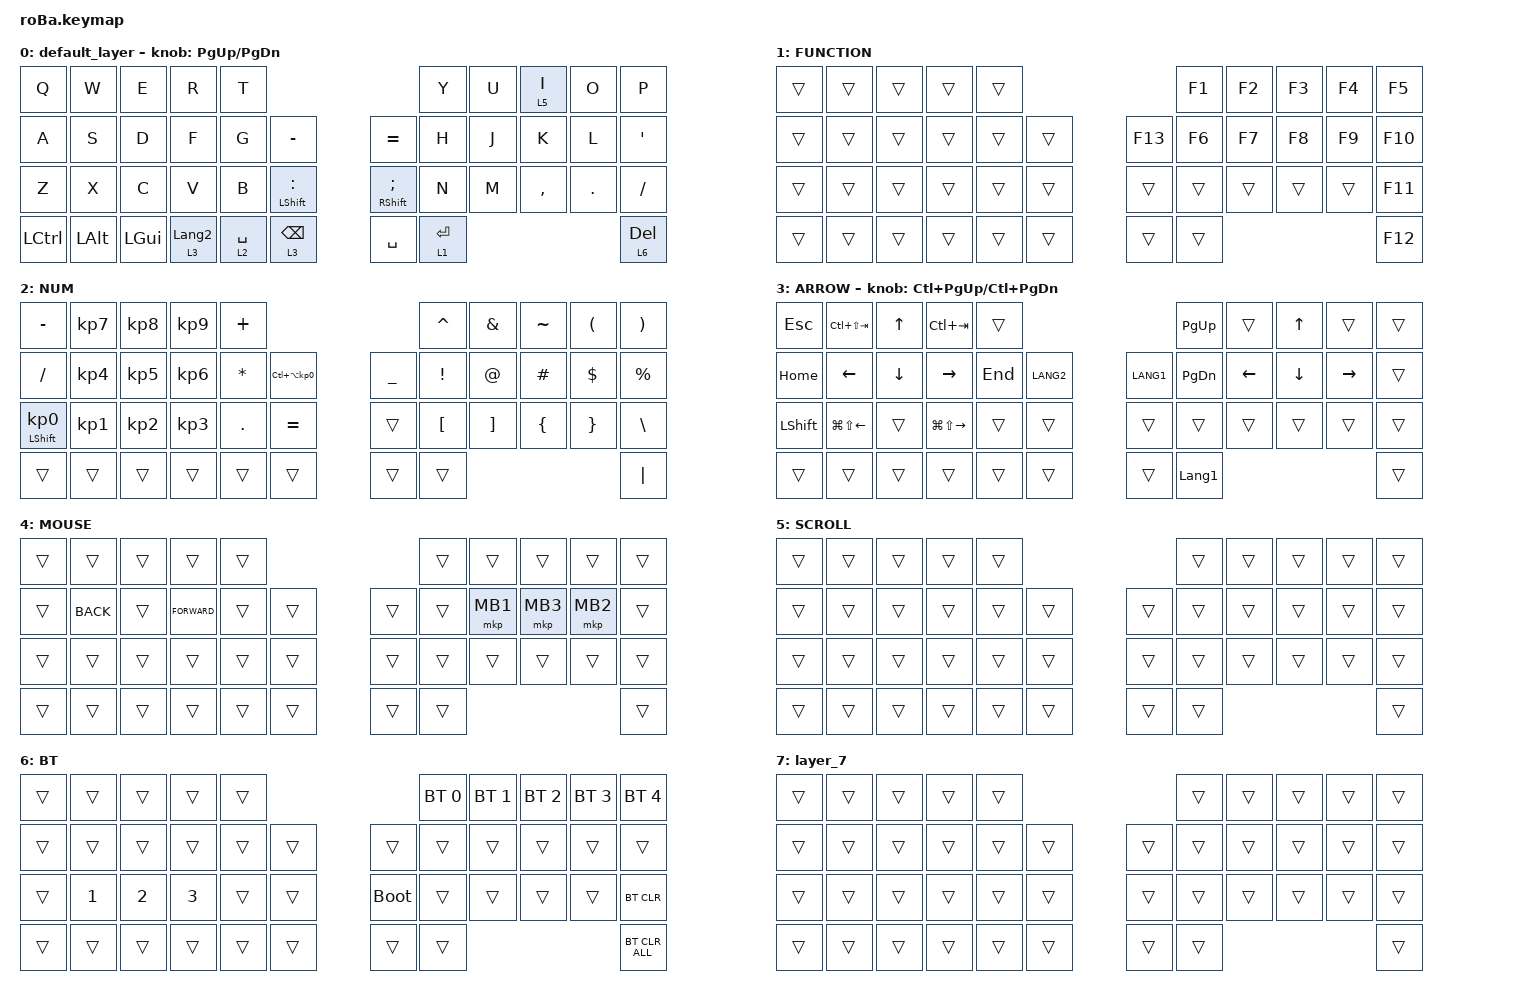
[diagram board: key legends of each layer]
#include <behaviors.dtsi>
#include <dt-bindings/zmk/bt.h>
#include <dt-bindings/zmk/keys.h>
#include <dt-bindings/zmk/pointing.h>

&mt {
    flavor = "balanced";
    quick-tap-ms = <0>;
};

&trackball {
    automouse-layer = <4>;
    scroll-layers = <5>;

    // arrows {
    //     layers = <3>;
    //     bindings =
    //         <&kp RIGHT_ARROW>,
    //         <&kp LEFT_ARROW>,
    //         <&kp UP_ARROW>,
    //         <&kp DOWN_ARROW>;
    //     tick = <10>;
    //     wait-ms = <5>;
    //     tap-ms = <5>;
    // };
};

/ {
    combos {
        compatible = "zmk,combos";

        tab {
            bindings = <&kp TAB>;
            key-positions = <11 12>;
        };

        shift_tab {
            bindings = <&kp LS(TAB)>;
            key-positions = <12 13>;
        };

        muhennkann {
            bindings = <&to_layer_0 INT_MUHENKAN>;
            key-positions = <11 10>;
        };

        double_quotation {
            bindings = <&kp DOUBLE_QUOTES>;
            key-positions = <20 21>;
        };

        eq {
            bindings = <&kp EQUAL>;
            key-positions = <24 25>;
        };
    };

    macros {
        to_layer_0: to_layer_0 {
            compatible = "zmk,behavior-macro-one-param";
            #binding-cells = <1>;
            bindings = <&to 0 &macro_param_1to1 &kp MACRO_PLACEHOLDER>;
            label = "TO_LAYER_0";
        };
    };

    behaviors {
        lt_to_layer_0: lt_to_layer_0 {
            compatible = "zmk,behavior-hold-tap";
            label = "LAYER_TAP_TO_0";
            bindings = <&mo>, <&to_layer_0>;

            #binding-cells = <2>;
            tapping-term-ms = <200>;
        };
    };

    keymap {
        compatible = "zmk,keymap";

        default_layer {
            bindings = <
&kp Q      &kp W         &kp E         &kp R                        &kp T                                                                   &kp Y        &kp U  &lt 5 I    &kp O    &kp P
&kp A      &kp S         &kp D         &kp F                        &kp G        &kp MINUS                       &kp EQUAL                  &kp H        &kp J  &kp K      &kp L    &kp SQT
&kp Z      &kp X         &kp C         &kp V                        &kp B        &mt LEFT_SHIFT COLON            &mt RIGHT_SHIFT SEMICOLON  &kp N        &kp M  &kp COMMA  &kp DOT  &kp SLASH
&kp LCTRL  &kp LEFT_ALT  &kp LEFT_GUI  &lt_to_layer_0 3 LANGUAGE_2  &lt 2 SPACE  &lt_to_layer_0 3 BACKSPACE      &kp SPACE                  &lt 1 ENTER                             &lt_to_layer_0 6 DEL
            >;

            sensor-bindings = <&inc_dec_kp PG_UP PAGE_DOWN>;
        };

        FUNCTION {
            bindings = <
&trans  &trans  &trans  &trans  &trans                       &kp F1  &kp F2  &kp F3  &kp F4  &kp F5
&trans  &trans  &trans  &trans  &trans  &trans      &kp F13  &kp F6  &kp F7  &kp F8  &kp F9  &kp F10
&trans  &trans  &trans  &trans  &trans  &trans      &trans   &trans  &trans  &trans  &trans  &kp F11
&trans  &trans  &trans  &trans  &trans  &trans      &trans   &trans                          &kp F12
            >;
        };

        NUM {
            bindings = <
&kp MINUS                   &kp KP_NUMBER_7  &kp KP_NUMBER_8  &kp KP_NUMBER_9  &kp PLUS                                                   &kp CARET         &kp AMPERSAND      &kp TILDE       &kp LEFT_PARENTHESIS  &kp RIGHT_PARENTHESIS
&kp SLASH                   &kp KP_NUMBER_4  &kp KP_NUMBER_5  &kp KP_NUMBER_6  &kp ASTERISK  &kp LC(LA(KP_NUMBER_0))      &kp UNDERSCORE  &kp EXCLAMATION   &kp AT_SIGN        &kp HASH        &kp DOLLAR            &kp PERCENT
&mt LEFT_SHIFT KP_NUMBER_0  &kp KP_NUMBER_1  &kp KP_NUMBER_2  &kp KP_NUMBER_3  &kp PERIOD    &kp EQUAL                    &trans          &kp LEFT_BRACKET  &kp RIGHT_BRACKET  &kp LEFT_BRACE  &kp RIGHT_BRACE       &kp BACKSLASH
&trans                      &trans           &trans           &trans           &trans        &trans                       &trans          &trans                                                                     &kp PIPE
            >;
        };

        ARROW {
            bindings = <
&kp ESCAPE      &kp LC(LS(TAB))         &kp UP_ARROW    &kp LC(TAB)              &trans                             &kp PAGE_UP     &trans          &kp UP_ARROW    &trans           &trans
&kp HOME        &kp LEFT_ARROW          &kp DOWN_ARROW  &kp RIGHT_ARROW          &kp END  &kp LANG2      &kp LANG1  &kp PAGE_DOWN   &kp LEFT_ARROW  &kp DOWN_ARROW  &kp RIGHT_ARROW  &trans
&kp LEFT_SHIFT  &kp LG(LS(LEFT_ARROW))  &trans          &kp LG(LS(RIGHT_ARROW))  &trans   &trans         &trans     &trans          &trans          &trans          &trans           &trans
&trans          &trans                  &trans          &trans                   &trans   &trans         &trans     &kp LANGUAGE_1                                                   &trans
            >;

            sensor-bindings = <&inc_dec_kp LC(PAGE_UP) LC(PAGE_DOWN)>;
        };

        MOUSE {
            bindings = <
&trans  &trans      &trans  &trans         &trans                      &trans  &trans    &trans    &trans    &trans
&trans  &kp K_BACK  &trans  &kp K_FORWARD  &trans  &trans      &trans  &trans  &mkp MB1  &mkp MB3  &mkp MB2  &trans
&trans  &trans      &trans  &trans         &trans  &trans      &trans  &trans  &trans    &trans    &trans    &trans
&trans  &trans      &trans  &trans         &trans  &trans      &trans  &trans                                &trans
            >;
        };

        SCROLL {
            bindings = <
&trans  &trans  &trans  &trans  &trans                      &trans  &trans  &trans  &trans  &trans
&trans  &trans  &trans  &trans  &trans  &trans      &trans  &trans  &trans  &trans  &trans  &trans
&trans  &trans  &trans  &trans  &trans  &trans      &trans  &trans  &trans  &trans  &trans  &trans
&trans  &trans  &trans  &trans  &trans  &trans      &trans  &trans                          &trans
            >;
        };

        BT {
            bindings = <
&trans  &trans        &trans        &trans        &trans                           &bt BT_SEL 0  &bt BT_SEL 1  &bt BT_SEL 2  &bt BT_SEL 3  &bt BT_SEL 4
&trans  &trans        &trans        &trans        &trans  &trans      &trans       &trans        &trans        &trans        &trans        &trans
&trans  &kp NUMBER_1  &kp NUMBER_2  &kp NUMBER_3  &trans  &trans      &bootloader  &trans        &trans        &trans        &trans        &bt BT_CLR
&trans  &trans        &trans        &trans        &trans  &trans      &trans       &trans                                                  &bt BT_CLR_ALL
            >;
        };

        layer_7 {
            bindings = <
&trans  &trans  &trans  &trans  &trans                      &trans  &trans  &trans  &trans  &trans
&trans  &trans  &trans  &trans  &trans  &trans      &trans  &trans  &trans  &trans  &trans  &trans
&trans  &trans  &trans  &trans  &trans  &trans      &trans  &trans  &trans  &trans  &trans  &trans
&trans  &trans  &trans  &trans  &trans  &trans      &trans  &trans                          &trans
            >;
        };
    };
};
